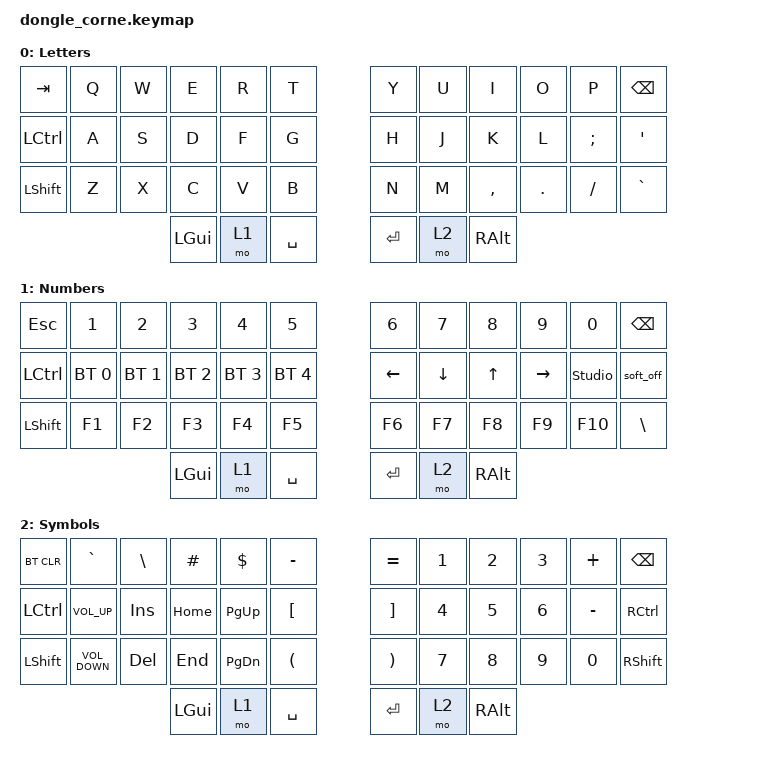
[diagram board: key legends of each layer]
/*
 * Copyright (c) 2020 The ZMK Contributors
 *
 * SPDX-License-Identifier: MIT
 */

#include <behaviors.dtsi>
#include <dt-bindings/zmk/bt.h>
#include <dt-bindings/zmk/keys.h>

#define ZMK_POINTING_DEFAULT_SCRL_VAL 25
#define LOWER   1
#define RAISE   2

// This is the dongle (split central) — no Nice!View, so no display SPI node
// here. Displays live on the two peripheral halves (see corne.keymap); keep the
// bindings below in sync with that file.

/ {
    keymap {
        compatible = "zmk,keymap";

        default_layer {
            display-name = "Letters";
            bindings = <
&kp TAB    &kp Q  &kp W  &kp E     &kp R  &kp T        &kp Y      &kp U  &kp I      &kp O    &kp P     &kp BSPC
&kp LCTRL  &kp A  &kp S  &kp D     &kp F  &kp G        &kp H      &kp J  &kp K      &kp L    &kp SEMI  &kp SINGLE_QUOTE
&kp LSHFT  &kp Z  &kp X  &kp C     &kp V  &kp B        &kp N      &kp M  &kp COMMA  &kp DOT  &kp FSLH  &kp GRAVE
                         &kp LGUI  &mo 1  &kp SPACE    &kp ENTER  &mo 2  &kp RALT
            >;
        };

        lower_layer {
            display-name = "Numbers";
            bindings = <
&kp ESC    &kp NUMBER_1  &kp NUMBER_2  &kp NUMBER_3  &kp NUMBER_4  &kp N5          &kp NUMBER_6  &kp N7    &kp N8    &kp NUMBER_9  &kp N0          &kp BACKSPACE
&kp LCTRL  &bt BT_SEL 0  &bt BT_SEL 1  &bt BT_SEL 2  &bt BT_SEL 3  &bt BT_SEL 4    &kp LEFT      &kp DOWN  &kp UP    &kp RIGHT     &studio_unlock  &soft_off
&kp LSHFT  &kp F1        &kp F2        &kp F3        &kp F4        &kp F5          &kp F6        &kp F7    &kp F8    &kp F9        &kp F10         &kp BACKSLASH
                                       &kp LGUI      &mo 1         &kp SPACE       &kp RETURN    &mo 2     &kp RALT
            >;
        };

        raise_layer {
            display-name = "Symbols";
            bindings = <
&bt BT_CLR  &kp GRAVE          &kp BACKSLASH  &kp POUND  &kp DOLLAR     &kp MINUS               &kp EQUAL              &kp NUMBER_1  &kp NUMBER_2  &kp NUMBER_3  &kp PLUS   &kp BACKSPACE
&kp LCTRL   &kp C_VOLUME_UP    &kp INSERT     &kp HOME   &kp PAGE_UP    &kp LEFT_BRACKET        &kp RIGHT_BRACKET      &kp NUMBER_4  &kp N5        &kp NUMBER_6  &kp MINUS  &kp RIGHT_CONTROL
&kp LSHFT   &kp C_VOLUME_DOWN  &kp DELETE     &kp END    &kp PAGE_DOWN  &kp LEFT_PARENTHESIS    &kp RIGHT_PARENTHESIS  &kp N7        &kp N8        &kp N9        &kp N0     &kp RSHFT
                                              &kp LGUI   &mo 1          &kp SPACE               &kp ENTER              &mo 2         &kp RALT
            >;
        };
    };
};
